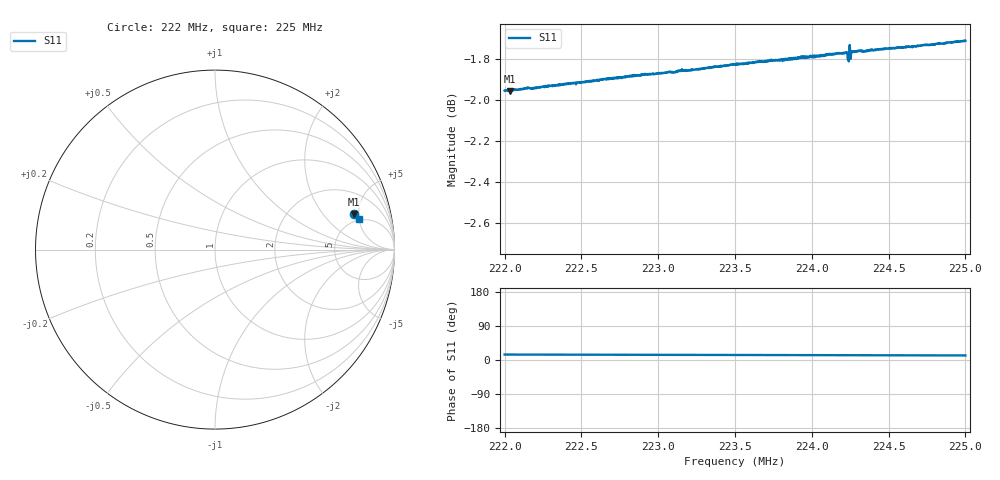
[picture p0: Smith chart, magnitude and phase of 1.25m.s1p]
! Calibrated averaged scanner-service zoom
# Hz S RI R 50
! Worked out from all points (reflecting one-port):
!   1001 points, 222 MHz to 225 MHz, reference 50 ohm
!   lowest |S11| = -2.0 dB at 222.03 MHz (marker M1), VSWR 8.91, Z = 200 + j219 ohm
!   phase of S11 starts at 14 deg and turns -2 deg over the sweep
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2.22e8  0.7735 0.1982
2.22033e8  0.7734 0.1979
2.22375e8  0.7769 0.1953
2.22645e8  0.7801 0.1934
2.2275e8  0.7809 0.1919
2.22906e8  0.7828 0.1908
2.23125e8  0.7847 0.1889
2.235e8  0.7887 0.1855
2.23875e8  0.7923 0.1821
2.23941e8  0.7935 0.1817
2.23974e8  0.7931 0.1812
2.24073e8  0.7938 0.1803
2.24169e8  0.7954 0.1796
2.24217e8  0.7957 0.1788
2.2422e8  0.7959 0.1789
2.24226e8  0.7956 0.1787
2.24232e8  0.7956 0.1788
2.24238e8  0.7958 0.1788
2.2425e8  0.796 0.1785
2.24253e8  0.7923 0.1815
2.24259e8  0.7963 0.1786
2.24268e8  0.7964 0.1785
2.24271e8  0.7964 0.1784
2.24307e8  0.797 0.1779
2.24349e8  0.7966 0.1775
2.24382e8  0.7975 0.1772
2.24625e8  0.7996 0.1748
2.25e8  0.803 0.1712
